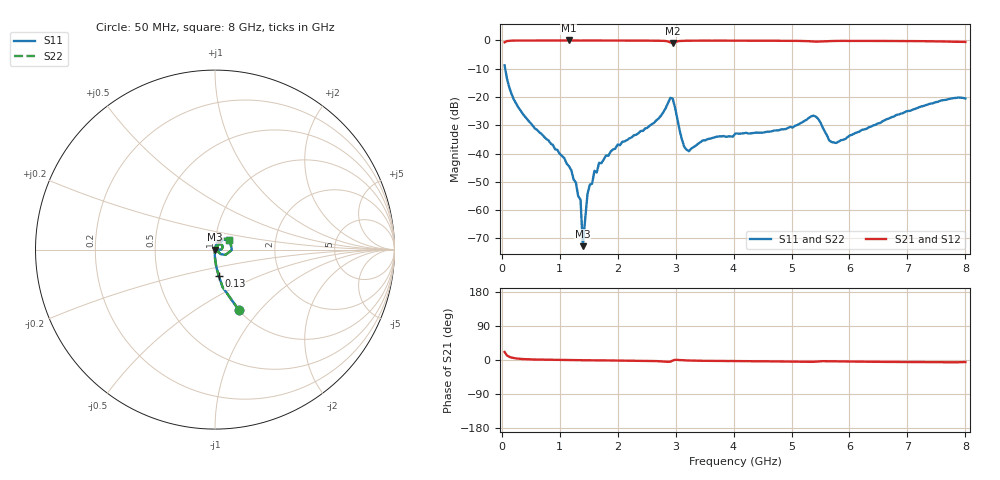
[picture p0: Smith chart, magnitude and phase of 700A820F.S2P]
!  American Technical Ceramics  Date:  3/13/98
!  One Norden Lane
!  Huntington Station,  NY.  11746-2102
!  Tel:  (516) 547-5700  Fax:  (516) 547-5748
!  Part Number  700A820F
!  Description: Porcelain, High Q, Low ESR
!  Application: Bypass, Coupling, Timing, Feedback
!  Tuning, Impedance Match, Blocking
# GHZ S DB R 50
! Freq  |S11|  S11 Ph  |S21|  S21 Ph  |S12|  S12 Ph  |S22|  S22 Ph
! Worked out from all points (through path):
!   201 points, 50 MHz to 8 GHz, reference 50 ohm
!   highest |S21| = 0.01 dB at 1.16 GHz (marker M1); lowest = -0.9 dB at 2.95 GHz (marker M2)
!   group delay of S21, straight-line fit = 3.04 ps
!   lowest |S11| = -72.8 dB at 1.4 GHz (marker M3), VSWR 1.00, Z = 50 - j0.00163 ohm
!   |S11| at or under -10 dB: 60.37 MHz to end of sweep
!   |S22| runs from -72.8 to -8.8 dB; largest |S21 - S12| = 0
!   S11 on the Smith chart (normalised r, x): 50 MHz: 1.00, -0.78; 130 MHz: 1.00, -0.30; 8 GHz: 1.16, +0.12
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0.05  -8.80 -68.4  -0.65 21.1  -0.65 21.1  -8.80 -68.4
0.13  -16.57 -81.8  -0.12 8.4  -0.12 8.4  -16.57 -81.8
0.37  -26.15 -89.4  0.00 2.4  0.00 2.4  -26.15 -89.4
1.16  -44.50 -93.0  0.01 -0.1  0.01 -0.1  -44.50 -93.0
1.36  -56.37 -96.2  -0.02 -0.5  -0.02 -0.5  -56.37 -96.2
1.4  -72.78 -4.1  -0.01 -0.5  -0.01 -0.5  -72.78 -4.1
1.48  -54.29 89.4  -0.01 -0.6  -0.01 -0.6  -54.29 89.4
1.6  -46.12 79.4  -0.01 -1.1  -0.01 -1.1  -46.12 79.4
1.68  -43.29 83.3  -0.04 -1.1  -0.04 -1.1  -43.29 83.3
2  -36.81 77.2  -0.03 -1.4  -0.03 -1.4  -36.81 77.2
2.71  -27.54 69.6  -0.09 -3.2  -0.09 -3.2  -27.54 69.6
2.95  -20.55 -1.4  -0.85 -1.6  -0.85 -1.6  -20.55 -1.4
3.11  -35.09 -28.9  -0.14 -0.4  -0.14 -0.4  -35.09 -28.9
3.23  -39.18 19.1  -0.08 -1.3  -0.08 -1.3  -39.18 19.1
3.47  -35.35 51.7  -0.05 -2.0  -0.05 -2.0  -35.35 51.7
4.03  -32.92 60.2  -0.07 -2.8  -0.07 -2.8  -32.92 60.2
5.02  -30.81 60.9  -0.10 -4.2  -0.10 -4.2  -30.81 60.9
5.38  -26.62 30.0  -0.36 -4.8  -0.36 -4.8  -26.62 30.0
5.65  -35.36 8.7  -0.22 -3.3  -0.22 -3.3  -35.36 8.7
5.77  -36.27 29.8  -0.15 -3.5  -0.15 -3.5  -36.27 29.8
6.69  -27.49 56.6  -0.17 -5.0  -0.17 -5.0  -27.49 56.6
8  -20.53 33.0  -0.50 -5.4  -0.50 -5.4  -20.53 33.0
